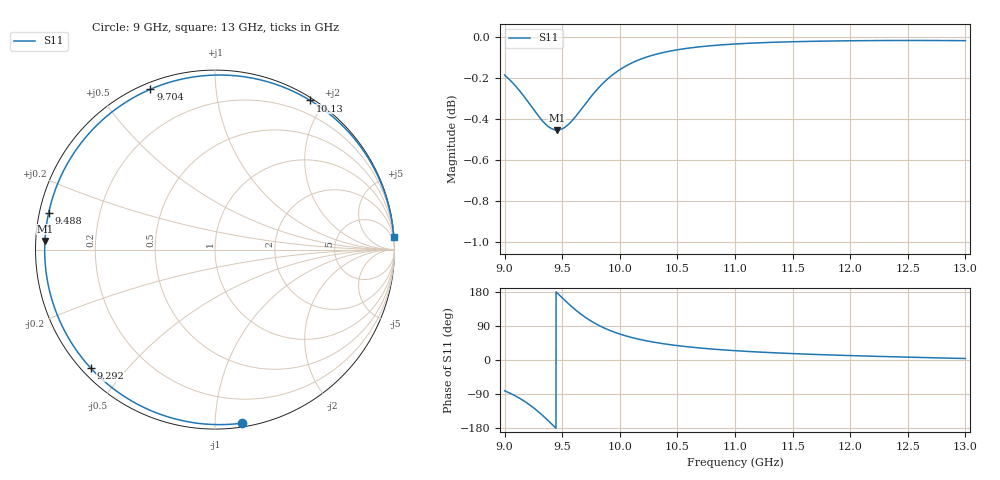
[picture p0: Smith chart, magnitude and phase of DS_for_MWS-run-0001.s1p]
! TOUCHSTONE file generated by CST DESIGN STUDIO
! Date and time: Wed Feb  5 13:37:13 2025
! Project name: C:\Work\MatlabApps\UnitCellOptimizationMatlab\CST\unitcell.cst
! Tree item: Tasks\Sweep1\SPara1\S-Parameters
! Header version: 2024
! Port assignment regex: !\s*Touchstone port\s*([0-9]+)\s*=\s*(CST MWS port|CST DES external port|CST DES block port)\s*(.+)\s* \(\"(.*)\"\)(\s*mode\s*([0-9]+))?.*
! Touchstone port assignment:
! Touchstone port 1 = CST DES external port 1 ("")
# GHz S MA R 50
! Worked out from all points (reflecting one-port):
!   4001 points, 9 GHz to 13 GHz, reference 50 ohm
!   lowest |S11| = -0.5 dB at 9.456 GHz (marker M1), VSWR 38.23, Z = 1.31 + j1.29 ohm
!   phase of S11 starts at -81 deg and turns -275 deg over the sweep
!   S11 on the Smith chart (normalised r, x): 9 GHz: 0.03, -1.17; 9.292 GHz: 0.03, -0.40; 9.488 GHz: 0.03, +0.11; 9.704 GHz: 0.03, +0.67; 10.13 GHz: 0.03, +1.82; 13 GHz: 1, +29
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9  0.9787 -81.2
9.091  0.973 -94.4
9.164  0.9674 -107.3
9.23  0.9619 -121.2
9.292  0.9566 -136.3
9.334  0.9535 -147.4
9.38  0.9509 -160.5
9.419  0.9495 -171.9
9.456  0.949 177.1
9.488  0.9494 167.5
9.5  0.9497 164.0
9.548  0.9517 150.2
9.604  0.9553 135.2
9.653  0.9591 123.2
9.704  0.9633 111.9
9.761  0.9677 100.9
9.826  0.9724 90.1
9.911  0.9775 78.4
10  0.9816 68.5
10.129  0.9861 57.4
10.296  0.9898 47.0
10.5  0.9926 37.9
10.723  0.9945 30.9
11  0.9958 24.6
11.5  0.9971 16.9
12  0.9976 11.6
12.5  0.9978 7.5
13  0.9977 3.9
